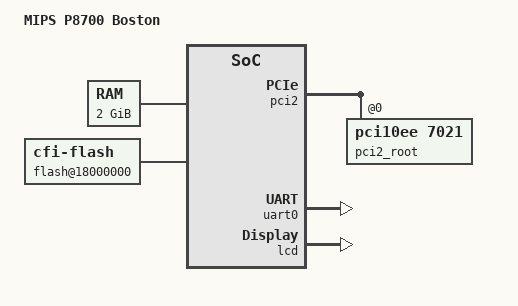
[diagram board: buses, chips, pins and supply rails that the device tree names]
// SPDX-License-Identifier: (GPL-2.0-only OR BSD-2-Clause)
/*
 * Copyright (C) 2025 MIPS
 *
 * Boston FPGA development board with a MIPS P8700 bitfile.
 */

/dts-v1/;

#include "p8700.dtsi"

#include <dt-bindings/interrupt-controller/irq.h>

/* Clock frequency (in Hz) of the FPGA bitfile */
#define BITFILE_FREQ	25000000

/ {
	model = "MIPS P8700 Boston";
	compatible = "gf,mips-p8700-boston";

	aliases {
		serial0 = &uart0;
	};

	chosen {
		stdout-path = "serial0:115200n8";
	};

	cpus {
		timebase-frequency = <BITFILE_FREQ>;
	};

	memory@80000000 {
		device_type = "memory";
		reg = <0x80000000 0x80000000>;
	};

	pci2: pci@14000000 {
		compatible = "xlnx,axi-pcie-host-1.00.a";
		device_type = "pci";
		reg = <0x14000000 0x2000000>;

		#address-cells = <3>;
		#size-cells = <2>;
		#interrupt-cells = <1>;

		interrupt-parent = <&aplic_s0>;
		interrupts = <7 IRQ_TYPE_LEVEL_HIGH>;

		ranges = <0x02000000 0 0x16000000
			  0x16000000 0 0x100000>;

		bus-range = <0x00 0xff>;

		interrupt-map-mask = <0 0 0 7>;
		interrupt-map = <0 0 0 1 &pci2_intc 1>,
				<0 0 0 2 &pci2_intc 2>,
				<0 0 0 3 &pci2_intc 3>,
				<0 0 0 4 &pci2_intc 4>;

		pci2_intc: interrupt-controller {
			interrupt-controller;
			#address-cells = <0>;
			#interrupt-cells = <1>;
		};

		pci2_root@0,0 {
			compatible = "pci10ee,7021", "pci-bridge";
			reg = <0x00000000 0 0 0 0>;

			#address-cells = <3>;
			#size-cells = <2>;

			eg20t_bridge@1,0,0 {
				compatible = "pci8086,8800", "pci-bridge";
				reg = <0x00010000 0 0 0 0>;

				#address-cells = <3>;
				#size-cells = <2>;

				eg20t_mac@2,0,1 {
					compatible = "pci8086,8802",
						     "intel,pch-gbe";
					reg = <0x00020100 0 0 0 0>;
					phy-reset-gpios = <&eg20t_gpio 6 1>;
				};

				eg20t_gpio: eg20t_gpio@2,0,2 {
					compatible = "pci8086,8803",
						     "intel,eg20t-gpio";
					reg = <0x00020200 0 0 0 0>;

					gpio-controller;
					#gpio-cells = <2>;
				};

				eg20t_i2c@2,12,2 {
					compatible = "pci8086,8817";
					reg = <0x00026200 0 0 0 0>;

					#address-cells = <1>;
					#size-cells = <0>;

					rtc@68 {
						compatible = "st,m41t81s";
						reg = <0x68>;
					};
				};
			};
		};
	};

	uart0: serial@17ffe000 {
		compatible = "ns16550a";
		reg = <0x17ffe000 0x1000>;
		reg-shift = <2>;
		reg-io-width = <4>;

		interrupt-parent = <&aplic_s0>;
		interrupts = <4 IRQ_TYPE_LEVEL_HIGH>;

		clock-frequency = <BITFILE_FREQ>;
	};

	lcd: lcd@17fff000 {
		compatible = "img,boston-lcd";
		reg = <0x17fff000 0x8>;
	};

	flash@18000000 {
		compatible = "cfi-flash";
		reg = <0x18000000 0x8000000>;
		bank-width = <2>;
	};
};
